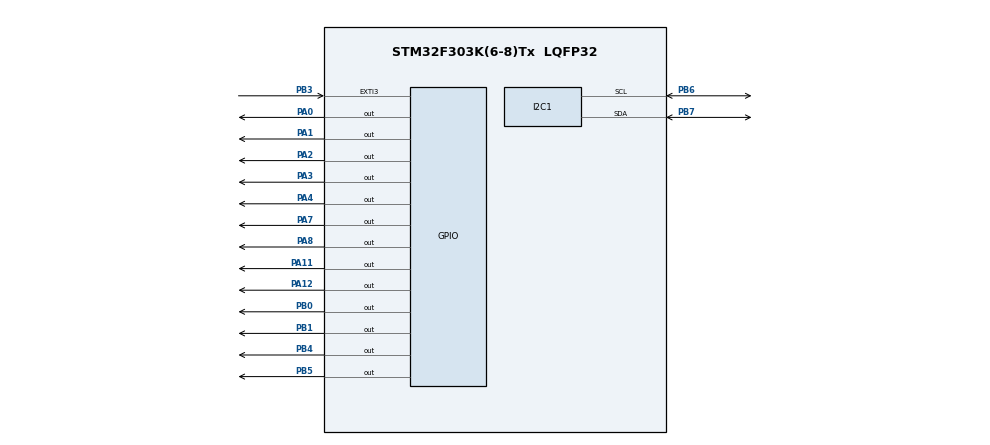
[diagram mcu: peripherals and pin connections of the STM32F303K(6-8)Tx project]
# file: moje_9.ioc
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I2C1.OwnAddress=1
Mcu.Family=STM32F3
Mcu.Name=STM32F303K(6-8)Tx
Mcu.Package=LQFP32
NVIC.EXTI3_IRQn=true\:0\:0\:false\:false\:true\:true\:true
NVIC.I2C1_EV_IRQn=true\:0\:0\:false\:false\:true\:true\:true
NVIC.PriorityGroup=NVIC_PRIORITYGROUP_4
NVIC.TIM2_IRQn=true\:1\:0\:true\:false\:true\:true\:true
PA0.PinState=GPIO_PIN_SET
PA0.Signal=GPIO_Output
PA1.PinState=GPIO_PIN_SET
PA1.Signal=GPIO_Output
PA11.PinState=GPIO_PIN_SET
PA11.Signal=GPIO_Output
PA12.Signal=GPIO_Output
PA2.Signal=GPIO_Output
PA3.PinState=GPIO_PIN_SET
PA3.Signal=GPIO_Output
PA4.Signal=GPIO_Output
PA7.PinState=GPIO_PIN_SET
PA7.Signal=GPIO_Output
PA8.PinState=GPIO_PIN_SET
PA8.Signal=GPIO_Output
PB0.Signal=GPIO_Output
PB1.PinState=GPIO_PIN_SET
PB1.Signal=GPIO_Output
PB3.Signal=GPXTI3
PB4.PinState=GPIO_PIN_SET
PB4.Signal=GPIO_Output
PB5.PinState=GPIO_PIN_SET
PB5.Signal=GPIO_Output
PB6.Mode=I2C
PB6.Signal=I2C1_SCL
PB7.Mode=I2C
PB7.Signal=I2C1_SDA
ProjectManager.HeapSize=0x200
ProjectManager.StackSize=0x400
ProjectManager.TargetToolchain=STM32CubeIDE
RCC.AHBFreq_Value=8000000
RCC.APB1Freq_Value=8000000
RCC.APB2Freq_Value=8000000
RCC.CortexFreq_Value=8000000
RCC.HSE_VALUE=8000000
RCC.HSI_VALUE=8000000
RCC.SYSCLKFreq_VALUE=8000000
TIM2.Channel-Output\ Compare1\ No\ Output=TIM_CHANNEL_1
TIM2.OCMode_1=TIM_OCMODE_ACTIVE
TIM2.Period=9
TIM2.Prescaler=799
VP_TIM2_VS_ClockSourceINT.Mode=Internal
VP_TIM2_VS_no_output1.Mode=Output Compare1 No Output
board=custom

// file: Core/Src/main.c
/* USER CODE BEGIN Header */
/**
  ******************************************************************************
  * @file           : main.c
  * @brief          : Main program body
  ******************************************************************************
  * @attention
  *
  * <h2><center>&copy; Copyright (c) 2020 STMicroelectronics.
  * All rights reserved.</center></h2>
  *
  * This software component is licensed by ST under BSD 3-Clause license,
  * the "License"; You may not use this file except in compliance with the
  * License. You may obtain a copy of the License at:
  *                        opensource.org/licenses/BSD-3-Clause
  *
  ******************************************************************************
  */
/* USER CODE END Header */
#include "main.h"
#include "i2c.h"
#include "tim.h"
#include "gpio.h"

/* USER CODE BEGIN Includes */
#include "lsm6ds0.h"
#include "hts221.h"
#include "lps25hb.h"
#include "lis3mdl.h"
uint8_t text_to_display[] = "____";
/* USER CODE END Includes */

/* USER CODE BEGIN PM */
enum abeceda{
	A = 0b1110111,
	a = 0b1111101,
	b = 0b0011111,
	C = 0b1001110,
	c = 0b0001101,
	d = 0b0111101,
	E = 0b1001111,
	F = 0b1000111,
	G = 0b1011110,
	H = 0b0110111,
	h = 0b0010111,
	I = 0b0000110,
	J = 0b0111100,
	L = 0b0001110,
	n = 0b0010101,
	O = 0b1111110,
	o = 0b0011101,
	P = 0b1100111,
	q = 0b1110011,
	r = 0b0000101,
	S = 0b1011011,
	t = 0b0001111,
	U = 0b0111110,
	u = 0b0011100,
	y = 0b0111011,

	K = 0b1010111,
	M = 0b1101010,
	W = 0b0111111,
	X = 0b1001001,
	Z = 0b1101101,
	V = 0b0101010,

	num_1 = 0b0110000,
	num_2 = 0b1101101,
	num_3 = 0b1111001,
	num_4 = 0b0010011,
	num_5 = 0b1011011,
	num_6 = 0b1011111,
	num_7 = 0b1110000,
	num_8 = 0b1111111,
	num_9 = 0b1111011,
	num_0 = 0b1111110,
};
/* USER CODE END PM */

/* USER CODE BEGIN PV */
float mag[3], acc[3];
uint16_t buffer;
int16_t temperature = 0;
uint16_t humidity = 0;
float pressure = 0;
uint16_t altitude = 0;
float azimut = 0;
uint8_t status = 0;
uint8_t button_state = 0;
/* USER CODE END PV */

void SystemClock_Config(void);

int main(void)
{

  /* MCU Configuration--------------------------------------------------------*/

  /* Reset of all peripherals, Initializes the Flash interface and the Systick. */

  LL_APB2_GRP1_EnableClock(LL_APB2_GRP1_PERIPH_SYSCFG);
  LL_APB1_GRP1_EnableClock(LL_APB1_GRP1_PERIPH_PWR);

  NVIC_SetPriorityGrouping(NVIC_PRIORITYGROUP_4);

  /* System interrupt init*/

  /* Configure the system clock */
  SystemClock_Config();

  /* Initialize all configured peripherals */
  MX_GPIO_Init();
  MX_I2C1_Init();
  MX_TIM2_Init();
  /* USER CODE BEGIN 2 */
  LL_TIM_EnableIT_UPDATE(TIM2);
  LL_TIM_EnableCounter(TIM2);

  lsm6ds0_init();
  hts221_init();
  lps25hb_init();
  lis3mdl_init();
  //

   // VYPISUJEME TENTO RETAZEC, AKOKOLVEK DLHY, COKOLVEK V NOM JE, JE TO SPRAVENE DYNAMICKY, NIE HARDCODED
   char vypis[15];

   int index = 0;
   int flag = 0;

   char mag_vypis[12];
   char azimut_str[10];

   char teplota_vypis[12];
   char teplota_str[10];

   char vlhkost_vypis[12];
   char vlhkost_str[10];

   char tlak_vypis[15];
   char tlak_str[10];

   char vyska_vypis[12];
   char vyska_str[10];

  /* USER CODE END 2 */

  /* Infinite loop */
  while (1)
  {

    /* USER CODE BEGIN 3 */

	  	  strncpy(text_to_display, &vypis[index], 4);
	  	  if(flag == 0){
	  		  index++;
	  	  }
	  	  if(flag == 1){
	  		  index--;
	  	  }

	  	  if(index == sizeof(vypis)-6){
	  		  flag = 1;
	  	  }
	  	  if(index == 0){
	  		  flag = 0;
	  	  }

	  	  //LL_mDelay(500);

	  	  //lsm6ds0_get_acc(acc, (acc+1), (acc+2));
	  	  //LL_mDelay(50);
	  	  //i2c_master_write(0, 0x0F, 0x5F << 1, 0);

	  	  //buffer = *(i2c_master_read(&data, 1, 0xf, 0xbe, 0));

	  	  humidity = HTS221_Get_Humidity();
	  	  temperature = HTS221_Get_Temperature();
	  	  pressure = lps25hb_getPressure();
	  	  altitude = ((powf((1013.25/pressure),1/5.257)-1)*((float)temperature+273.15))/0.0065;
	  	  azimut = lis3mdl_get_mag_z();

	  	  switch(button_state){
	  	  	case 0:
	  	  	memset(mag_vypis, '\0',12);
	  	  	gcvt(azimut, 5, azimut_str);
	  	  	strcat(mag_vypis, " MAG_");
	  	  	strcat(mag_vypis, azimut_str);
	  	  	memset(vypis,'\0',15);
	  	  	strcat(vypis, mag_vypis);
	  		break;

	  	  	case 1:
	  	  	memset(teplota_vypis, '\0',12);
	  	  	sprintf(teplota_str, "%d", temperature);
	  	  	strcat(teplota_vypis, " TEMP_");
	  	  	strncat(teplota_vypis, teplota_str, 2);
	  	  	strcat(teplota_vypis, ".");
	  	  	strncat(teplota_vypis, &teplota_str[2],1);
	  	  	memset(vypis,'\0',15);
	  	  	strcpy(vypis, teplota_vypis);
	  	  	break;

	  	  	case 2:
	  	  	memset(vlhkost_vypis,'\0',12);
	  	  	sprintf(vlhkost_str, "%d", humidity);
	  	  	strcat(vlhkost_vypis, " HUM_");
	  	  	strncat(vlhkost_vypis, vlhkost_str,2);
	  	  	memset(vypis,'\0',15);
	  	  	strcpy(vypis, vlhkost_vypis);
	  	  	break;

	  	  	case 3:
	  	  	memset(tlak_vypis,'\0',15);
	  	  	gcvt(pressure, 6, tlak_str);
	  	  	strcat(tlak_vypis, " BAR_");
	  	  	strcat(tlak_vypis, tlak_str);
	  	  	memset(vypis,'\0',15);
	  	  	strcpy(vypis, tlak_vypis);
	  		break;

	  	  	case 4:
	  	  	memset(vyska_vypis, '\0',12);
	  	  	sprintf(vyska_str, "%d", altitude);
	  	  	strcat(vyska_vypis, " ALT_");
	  	  	strcat(vyska_vypis, vyska_str);
	  	  	memset(vypis,'\0',15);
	  	  	strcpy(vypis, vyska_vypis);
	  	  	break;
	  	  }

	  	  LL_mDelay(200);

  }

  /* USER CODE END 3 */
}

void SystemClock_Config(void)
{
  LL_FLASH_SetLatency(LL_FLASH_LATENCY_0);
  while(LL_FLASH_GetLatency()!= LL_FLASH_LATENCY_0)
  {
  }
  LL_RCC_HSI_Enable();

   /* Wait till HSI is ready */
  while(LL_RCC_HSI_IsReady() != 1)
  {

  }
  LL_RCC_HSI_SetCalibTrimming(16);
  LL_RCC_SetAHBPrescaler(LL_RCC_SYSCLK_DIV_1);
  LL_RCC_SetAPB1Prescaler(LL_RCC_APB1_DIV_1);
  LL_RCC_SetAPB2Prescaler(LL_RCC_APB1_DIV_1);
  LL_RCC_SetSysClkSource(LL_RCC_SYS_CLKSOURCE_HSI);

   /* Wait till System clock is ready */
  while(LL_RCC_GetSysClkSource() != LL_RCC_SYS_CLKSOURCE_STATUS_HSI)
  {

  }
  LL_Init1msTick(8000000);
  LL_SetSystemCoreClock(8000000);
  LL_RCC_SetI2CClockSource(LL_RCC_I2C1_CLKSOURCE_HSI);
}

/* USER CODE BEGIN 4 */
void write_character(unsigned short ch)
{
static char bin[8];
static char inverted_bin[8];

	// write bin number into an array
	for (int i = 0;i < 8; i++)
	{
		bin[i] = ch & 0x80 ? '1' : '0';
		ch <<= 1;
	}

	// invert characters in bin array
	for (int i = 0;i < 8; i++)
	{
		if (bin[i] == '1'){inverted_bin[i] = 0;}
		else if (bin[i] == '0'){inverted_bin[i] = 1;}
	}

	if(inverted_bin[1] == 1 && inverted_bin[2] == 1 && inverted_bin[3] == 1 && inverted_bin[4] == 1 && inverted_bin[5] == 1 && inverted_bin[6] == 0 && inverted_bin[7] == 1){
		LL_GPIO_ResetOutputPin(GPIOB, LL_GPIO_PIN_1);

	}else{
		LL_GPIO_SetOutputPin(GPIOB, LL_GPIO_PIN_1);

		if(inverted_bin[1] == 1){
			LL_GPIO_SetOutputPin(GPIOA, LL_GPIO_PIN_1);
		}
		if(inverted_bin[1] == 0){
			LL_GPIO_ResetOutputPin(GPIOA, LL_GPIO_PIN_1);
		}
		//--------------------------------------------------
		if(inverted_bin[2] == 1){
				LL_GPIO_SetOutputPin(GPIOA, LL_GPIO_PIN_0);
			}
		if(inverted_bin[2] == 0){
			LL_GPIO_ResetOutputPin(GPIOA, LL_GPIO_PIN_0);
		}
		//--------------------------------------------------
		if(inverted_bin[3] == 1){
				LL_GPIO_SetOutputPin(GPIOA, LL_GPIO_PIN_8);
		}
		if(inverted_bin[3] == 0){
			LL_GPIO_ResetOutputPin(GPIOA, LL_GPIO_PIN_8);
		}
		//--------------------------------------------------
		if(inverted_bin[4] == 1){
				LL_GPIO_SetOutputPin(GPIOB, LL_GPIO_PIN_5);
		}
		if(inverted_bin[4] == 0){
			LL_GPIO_ResetOutputPin(GPIOB, LL_GPIO_PIN_5);
		}
		//--------------------------------------------------
		if(inverted_bin[5] == 1){
				LL_GPIO_SetOutputPin(GPIOA, LL_GPIO_PIN_11);
		}
		if(inverted_bin[5] == 0){
			LL_GPIO_ResetOutputPin(GPIOA, LL_GPIO_PIN_11);
		}
		//--------------------------------------------------
		if(inverted_bin[6] == 1){
				LL_GPIO_SetOutputPin(GPIOA, LL_GPIO_PIN_3);
		}
		if(inverted_bin[6] == 0){
			LL_GPIO_ResetOutputPin(GPIOA, LL_GPIO_PIN_3);
		}
		//--------------------------------------------------
		if(inverted_bin[7] == 1){
				LL_GPIO_SetOutputPin(GPIOB, LL_GPIO_PIN_4);
		}
		if(inverted_bin[7] == 0){
			LL_GPIO_ResetOutputPin(GPIOB, LL_GPIO_PIN_4);
		}
	}

	/*
	 HAL_GPIO_WritePin(GPIOA, LL_GPIO_PIN_1, inverted_bin[1]);
	 HAL_GPIO_WritePin(GPIOA, LL_GPIO_PIN_0, inverted_bin[2]);
	 HAL_GPIO_WritePin(GPIOA, LL_GPIO_PIN_8, inverted_bin[3]);
	 HAL_GPIO_WritePin(GPIOB, LL_GPIO_PIN_5, inverted_bin[4]);

	 HAL_GPIO_WritePin(GPIOA, LL_GPIO_PIN_11, inverted_bin[5]);
	 HAL_GPIO_WritePin(GPIOA, LL_GPIO_PIN_3, inverted_bin[6]);
	 HAL_GPIO_WritePin(GPIOB, LL_GPIO_PIN_4, inverted_bin[7]);
	 //HAL_GPIO_WritePin(GPIOB, GPIO_PIN_1, 0); // desatinna ciara
	  */
}

void turnON_digit(int seg1,int seg2, int seg3, int seg4)
{
	if (seg1 == 1){
		LL_GPIO_SetOutputPin(GPIOB, LL_GPIO_PIN_0);
	}else{
		LL_GPIO_ResetOutputPin(GPIOB, LL_GPIO_PIN_0);
	}
	if (seg2 == 1){
		LL_GPIO_SetOutputPin(GPIOA, LL_GPIO_PIN_4);
	}else{
		LL_GPIO_ResetOutputPin(GPIOA, LL_GPIO_PIN_4);
	}
	if (seg3 == 1){
		LL_GPIO_SetOutputPin(GPIOA, LL_GPIO_PIN_12);
	}else{
		LL_GPIO_ResetOutputPin(GPIOA, LL_GPIO_PIN_12);
	}
	if (seg4 == 1){
		LL_GPIO_SetOutputPin(GPIOA, LL_GPIO_PIN_2);
	}else{
		LL_GPIO_ResetOutputPin(GPIOA, LL_GPIO_PIN_2);
	}
}

void write_4_chars(uint8_t text[]){

	for(uint8_t i = 0; i<4; i++){
		if(i == 0){
			write_character(getCharNumber(text[i]));
			turnON_digit(1,0,0,0);
		}
		if(i == 1){
			write_character(getCharNumber(text[i]));
			turnON_digit(0,1,0,0);
		}
		if(i == 2){
			write_character(getCharNumber(text[i]));
			turnON_digit(0,0,1,0);
		}
		if(i == 3){
			write_character(getCharNumber(text[i]));
			turnON_digit(0,0,0,1);
		}
		resetSegments();
		resetDigits();
	}
}

unsigned short getCharNumber(uint8_t single_char){

	if(single_char == 'A'){
	        return 0b1110111;
	    }
	if(single_char == 'a'){
	        return 0b1111101;
	    }
	if(single_char == 'b'){
	        return 0b0011111;
	    }
	if(single_char == 'C'){
	        return 0b1001110;
	    }
	if(single_char == 'c'){
	        return 0b0001101;
	    }
	if(single_char == 'd'){
	        return 0b0111101;
	    }
	if(single_char == 'E'){
	        return 0b1001111;
	    }
	if(single_char == 'F'){
	        return 0b1000111;
	    }
	if(single_char == 'G'){
	        return 0b1011110;
	    }
	if(single_char == 'H'){
	        return 0b0110111;
	    }
	if(single_char == 'h'){
	        return 0b0010111;
	    }
	if(single_char == 'I'){
	        return 0b0000110;
	    }
	if(single_char == 'J'){
	        return 0b0111100;
	    }
	if(single_char == 'L'){
	        return 0b0001110;
	    }
	if(single_char == 'n'){
	        return 0b0010101;
	    }
	if(single_char == 'O'){
	        return 0b1111110;
	    }
	if(single_char == 'o'){
	        return 0b0011101;
	    }
	if(single_char == 'P'){
	        return 0b1100111;
	    }
	if(single_char == 'q'){
	        return 0b1110011;
	    }
	if(single_char == 'r'){
	        return 0b0000101;
	    }
	if(single_char == 'S'){
	        return 0b1011011;
	    }
	if(single_char == 't'){
	        return 0b0001111;
	    }
	if(single_char == 'U'){
	        return 0b0111110;
	    }
	if(single_char == 'u'){
	        return 0b0011100;
	    }
	if(single_char == 'y'){
	        return 0b0111011;
	    }
	if(single_char == 'K'){
	        return 0b1010111;
	    }
	if(single_char == 'M'){
	        return 0b1101010;
	    }
	if(single_char == 'W'){
	        return 0b0111111;
	    }
	if(single_char == 'X'){
	        return 0b1001001;
	    }
	if(single_char == 'Z'){
	        return 0b1101101;
	    }
	if(single_char == 'V'){
	        return 0b0101010;
	    }
	if(single_char == '1'){
	        return 0b0110000;
	    }
	if(single_char == '2'){
	        return 0b1101101;
	    }
	if(single_char == '3'){
	        return 0b1111001;
	    }
	if(single_char == '4'){
	        return 0b0010011;
	    }
	if(single_char == '5'){
	        return 0b1011011;
	    }
	if(single_char == '6'){
	        return 0b1011111;
	    }
	if(single_char == '7'){
	        return 0b1110000;
	    }
	if(single_char == '8'){
	        return 0b1111111;
	    }
	if(single_char == '9'){
	        return 0b1111011;
	    }
	if(single_char == '0'){
	        return 0b1111110;
	    }
	if(single_char == '_'){
	        return 0b0001000;
	    }
	if(single_char == ' '){
		        return 0b0000000;
		    }
	if(single_char == '.'){
		return 0b0000010;
	}
	if(single_char == '-'){
		return 0b0000001;
	}
}

void resetDigits(){
	turnON_digit(0, 0, 0, 0);
}
void resetSegments(){
	LL_GPIO_SetOutputPin(GPIOA, LL_GPIO_PIN_1);
	LL_GPIO_SetOutputPin(GPIOA, LL_GPIO_PIN_0);
	LL_GPIO_SetOutputPin(GPIOA, LL_GPIO_PIN_8);
	LL_GPIO_SetOutputPin(GPIOB, LL_GPIO_PIN_5);
	LL_GPIO_SetOutputPin(GPIOA, LL_GPIO_PIN_11);
	LL_GPIO_SetOutputPin(GPIOA, LL_GPIO_PIN_3);
	LL_GPIO_SetOutputPin(GPIOB, LL_GPIO_PIN_4);
}
/* USER CODE END 4 */

void Error_Handler(void)
{
}

/************************ (C) COPYRIGHT STMicroelectronics *****END OF FILE****/
